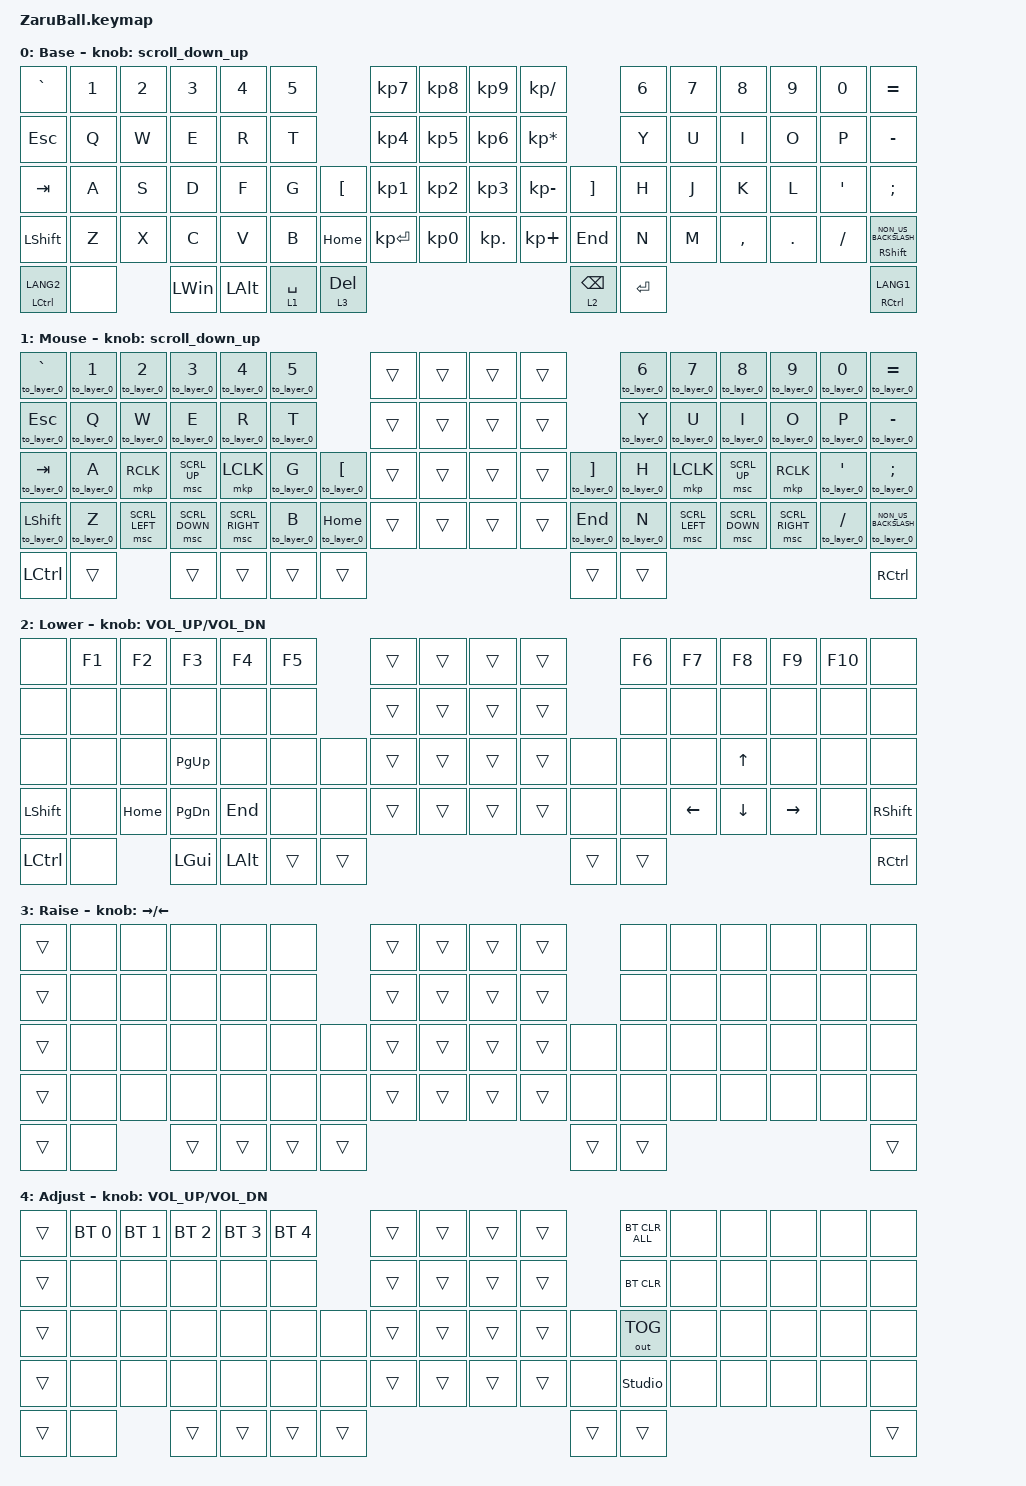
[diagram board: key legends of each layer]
//#include <dt-bindings/zmk/mouse.h>

#include <behaviors/rgbled_widget.dtsi>
#include <input/processors.dtsi>
#include <dt-bindings/zmk/input_transform.h>
#include <behaviors.dtsi>
#include <dt-bindings/zmk/bt.h>
#include <dt-bindings/zmk/keys.h>
#include <dt-bindings/zmk/outputs.h>
#include <dt-bindings/zmk/pointing.h>

#define BASE     0
#define MOUSE    1
#define LOWER    2
#define RAISE    3
#define ADJUST   4
#define SCROLL   3

// スクロール量の設定

#define ZMK_POINTING_DEFAULT_SCRL_VAL 20

&trackball_listener {
    input-processors = <
                         &zip_xy_transform (INPUT_TRANSFORM_XY_SWAP | INPUT_TRANSFORM_Y_INVERT | INPUT_TRANSFORM_X_INVERT)
                         &zip_temp_layer MOUSE 1
    >;

    scroller {
        layers = <SCROLL>;
        input-processors = <
                            &zip_xy_transform (INPUT_TRANSFORM_XY_SWAP | INPUT_TRANSFORM_X_INVERT)
                            &zip_xy_scaler 1 20
                            &zip_xy_to_scroll_mapper
        >;
    };
};

/ {
    conditional_layers {
        compatible = "zmk,conditional-layers";

        tri_layer {
            if-layers = <2 3>;
            then-layer = <4>;
        };
    };
};

/ {
    behaviors {
        // スクロール用のbehaviorの設定

        scroll_down_up: behavior_sensor_rotate_mouse_wheel_down_up {
            compatible = "zmk,behavior-sensor-rotate";
            #sensor-binding-cells = <0>;
            bindings = <&msc SCRL_DOWN>, <&msc SCRL_UP>;

            tap-ms = <20>; // スクロールのタップ時間
        };

        td0: tap_dance_0 {
            compatible = "zmk,behavior-tap-dance";
            #binding-cells = <0>;
            tapping-term-ms = <200>;
            bindings = <&mt LALT LANG2>, <&mo RAISE>, <&mo MOUSE>;
        };

        td1: tap_dance_1 {
            compatible = "zmk,behavior-tap-dance";
            #binding-cells = <0>;
            tapping-term-ms = <200>;
            bindings = <&mt RCTL LANG1>, <&mo RAISE>, <&mo MOUSE>;
        };

        // Customed Hold-Tap for SandS

        SandS: SandS {
            compatible = "zmk,behavior-hold-tap";
            #binding-cells = <2>;
            flavor = "tap-unless-interrupted";
            tapping-term-ms = <500>;
            quick-tap-ms = <500>;
            bindings = <&kp>, <&kp>;

            display-name = "SandS";
        };
    };
};

&sl { release-after-ms = <250>; }; // time needed for double click (for mkp_exit_AML)
/ {
    macros {
        // When in AML, move to default layer when key (except mouse button) pressed

        to_layer_0: to_layer_0 {
            compatible = "zmk,behavior-macro-one-param";
            #binding-cells = <1>;
            bindings = <&tog MOUSE &macro_param_1to1 &kp MACRO_PLACEHOLDER>;
            label = "TO_layer_0";
        };

        // When LCLK pressed, exit AML (after 250ms cause by sticky layer

        mkp_exit_AML: mkp_exit_AML {
            compatible = "zmk,behavior-macro-one-param";
            #binding-cells = <1>;
            bindings =
                <&macro_press>,
                <&macro_param_1to1 &mkp MACRO_PLACEHOLDER>,
                <&macro_pause_for_release>,
                <&macro_release>,
                <&macro_param_1to1 &mkp MACRO_PLACEHOLDER>,
                <&macro_tap>,
                <&sl MOUSE>;

            label = "MKP_EXIT_AML";
        };
    };
};

/ {
    keymap {
        compatible = "zmk,keymap";

        base_layer {
            display-name = "Base";
            sensor-bindings = <&scroll_down_up>;
            bindings = <
&kp GRAVE               &kp N1  &kp N2  &kp N3    &kp N4        &kp N5                           &kp KP_N7     &kp KP_N8  &kp KP_N9   &kp KP_DIVIDE                         &kp NUMBER_6  &kp N7  &kp N8     &kp N9   &kp N0    &kp EQUAL
&kp ESC                 &kp Q   &kp W   &kp E     &kp R         &kp T                            &kp KP_N4     &kp KP_N5  &kp KP_N6   &kp KP_MULTIPLY                       &kp Y         &kp U   &kp I      &kp O    &kp P     &kp MINUS
&kp TAB                 &kp A   &kp S   &kp D     &kp F         &kp G        &kp LEFT_BRACKET    &kp KP_N1     &kp KP_N2  &kp KP_N3   &kp KP_MINUS       &kp RIGHT_BRACKET  &kp H         &kp J   &kp K      &kp L    &kp SQT   &kp SEMICOLON
&kp LSHFT               &kp Z   &kp X   &kp C     &kp V         &kp B        &kp HOME            &kp KP_ENTER  &kp KP_N0  &kp KP_DOT  &kp KP_PLUS        &kp END            &kp N         &kp M   &kp COMMA  &kp DOT  &kp FSLH  &mt RIGHT_SHIFT NON_US_BACKSLASH
&mt LEFT_CONTROL LANG2  &none           &kp LWIN  &kp LEFT_ALT  &lt 1 SPACE  &lt 3 DELETE                                                                &lt 2 BACKSPACE    &kp ENTER                                           &mt RIGHT_CONTROL LANG1
            >;
        };

        mouse_layer {
            display-name = "Mouse";
            sensor-bindings = <&scroll_down_up>;
            bindings = <
&to_layer_0 GRAVE   &to_layer_0 N1  &to_layer_0 N2  &to_layer_0 N3  &to_layer_0 N4   &to_layer_0 N5                              &trans  &trans  &trans  &trans                               &to_layer_0 N6  &to_layer_0 N7  &to_layer_0 N8  &to_layer_0 N9   &to_layer_0 N0            &to_layer_0 EQUAL
&to_layer_0 ESC     &to_layer_0 Q   &to_layer_0 W   &to_layer_0 E   &to_layer_0 R    &to_layer_0 T                               &trans  &trans  &trans  &trans                               &to_layer_0 Y   &to_layer_0 U   &to_layer_0 I   &to_layer_0 O    &to_layer_0 P             &to_layer_0 MINUS
&to_layer_0 TAB     &to_layer_0 A   &mkp RCLK       &msc SCRL_UP    &mkp LCLK        &to_layer_0 G   &to_layer_0 LEFT_BRACKET    &trans  &trans  &trans  &trans    &to_layer_0 RIGHT_BRACKET  &to_layer_0 H   &mkp LCLK       &msc SCRL_UP    &mkp RCLK        &to_layer_0 SINGLE_QUOTE  &to_layer_0 SEMICOLON
&to_layer_0 LSHIFT  &to_layer_0 Z   &msc SCRL_LEFT  &msc SCRL_DOWN  &msc SCRL_RIGHT  &to_layer_0 B   &to_layer_0 HOME            &trans  &trans  &trans  &trans    &to_layer_0 END            &to_layer_0 N   &msc SCRL_LEFT  &msc SCRL_DOWN  &msc SCRL_RIGHT  &to_layer_0 SLASH         &to_layer_0 NON_US_BACKSLASH
&kp LEFT_CONTROL    &trans                          &trans          &trans           &trans          &trans                                                        &trans                     &trans                                                                                     &kp RIGHT_CONTROL
            >;
        };

        lower_layer {
            display-name = "Lower";
            sensor-bindings = <&inc_dec_kp C_VOL_UP C_VOL_DN>;
            bindings = <
&none             &kp F1  &kp F2    &kp F3         &kp F4        &kp F5            &trans  &trans  &trans  &trans            &kp F6  &kp F7    &kp F8    &kp F9     &kp F10  &none
&none             &none   &none     &none          &none         &none             &trans  &trans  &trans  &trans            &none   &none     &none     &none      &none    &none
&none             &none   &none     &kp PAGE_UP    &none         &none   &none     &trans  &trans  &trans  &trans    &none   &none   &none     &kp UP    &none      &none    &none
&kp LEFT_SHIFT    &none   &kp HOME  &kp PAGE_DOWN  &kp END       &none   &none     &trans  &trans  &trans  &trans    &none   &none   &kp LEFT  &kp DOWN  &kp RIGHT  &none    &kp RIGHT_SHIFT
&kp LEFT_CONTROL  &none             &kp LEFT_GUI   &kp LEFT_ALT  &trans  &trans                                      &trans  &trans                                          &kp RIGHT_CONTROL
            >;
        };

        raise_layer {
            display-name = "Raise";
            sensor-bindings = <&inc_dec_kp RIGHT LEFT>;
            bindings = <
&trans  &none  &none  &none   &none   &none             &trans  &trans  &trans  &trans            &none   &none  &none  &none  &none  &none
&trans  &none  &none  &none   &none   &none             &trans  &trans  &trans  &trans            &none   &none  &none  &none  &none  &none
&trans  &none  &none  &none   &none   &none   &none     &trans  &trans  &trans  &trans    &none   &none   &none  &none  &none  &none  &none
&trans  &none  &none  &none   &none   &none   &none     &trans  &trans  &trans  &trans    &none   &none   &none  &none  &none  &none  &none
&trans  &none         &trans  &trans  &trans  &trans                                      &trans  &trans                              &trans
            >;
        };

        adjust_layer {
            display-name = "Adjust";
            sensor-bindings = <&inc_dec_kp C_VOL_UP C_VOL_DN>;
            bindings = <
&trans  &bt BT_SEL 0  &bt BT_SEL 1  &bt BT_SEL 2  &bt BT_SEL 3  &bt BT_SEL 4            &trans  &trans  &trans  &trans            &bt BT_CLR_ALL  &none  &none  &none  &none  &none
&trans  &none         &none         &none         &none         &none                   &trans  &trans  &trans  &trans            &bt BT_CLR      &none  &none  &none  &none  &none
&trans  &none         &none         &none         &none         &none         &none     &trans  &trans  &trans  &trans    &none   &out OUT_TOG    &none  &none  &none  &none  &none
&trans  &none         &none         &none         &none         &none         &none     &trans  &trans  &trans  &trans    &none   &studio_unlock  &none  &none  &none  &none  &none
&trans  &none                       &trans        &trans        &trans        &trans                                      &trans  &trans                                      &trans
            >;
        };

        // Extra layer can be added in ZMK STUDIO

        extra1 { status = "reserved"; };

        extra2 { status = "reserved"; };
    };
};
